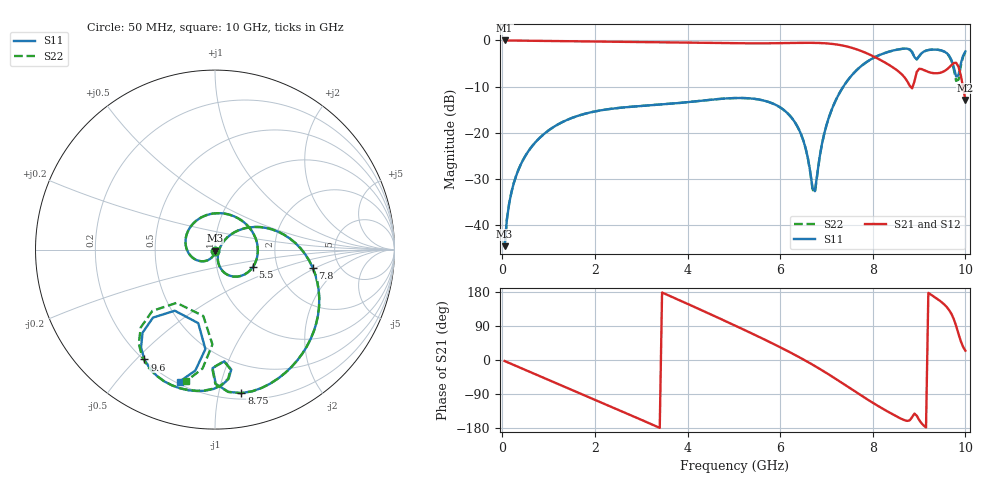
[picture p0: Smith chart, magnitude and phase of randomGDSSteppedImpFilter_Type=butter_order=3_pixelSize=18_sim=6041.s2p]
! freq	dB(S11)	phase(S11)	dB(S12)	phase(S12)
!  dB(S21)	phase(S21)	dB(S22)	phase(S22)
!S-par simulation data
#  GHz  S  DB  R 50
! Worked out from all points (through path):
!   200 points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, 50 MHz to 10 GHz, reference 50 ohm
!   highest |S21| = 0.00 dB at 50 MHz (marker M1); lowest = -12.9 dB at 10 GHz (marker M2)
!   group delay of S21, straight-line fit = 170 ps
!   lowest |S11| = -44.5 dB at 50 MHz (marker M3), VSWR 1.01, Z = 50 - j0.598 ohm
!   |S11| at or under -10 dB: start of sweep to 7.363 GHz
!   |S22| runs from -44.5 to -1.8 dB; largest |S21 - S12| = 0
!   S11 on the Smith chart (normalised r, x): 50 MHz: 1.00, -0.01; 5.5 GHz: 1.49, -0.31; 7.8 GHz: 3.18, -0.92; 8.75 GHz: 0.25, -1.17; 9.6 GHz: 0.20, -0.53; 10 GHz: 0.21, -0.75
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0.05  -44.47 -90.0  -0.00 -2.7  -0.00 -2.7  -44.47 -90.0
0.2  -32.69 -100.0  -0.02 -10.6  -0.02 -10.6  -32.69 -100.0
0.5  -24.92 -116.7  -0.05 -26.4  -0.05 -26.4  -24.92 -116.7
1.75  -15.94 177.2  -0.22 -91.8  -0.22 -91.8  -15.94 177.1
2.65  -14.45 129.8  -0.33 -139.1  -0.33 -139.1  -14.45 129.6
3.4  -13.88 89.7  -0.41 -179.2  -0.41 -179.2  -13.88 89.5
4.15  -13.19 49.1  -0.50 139.9  -0.50 139.9  -13.19 48.8
5.05  -12.45 -0.2  -0.61 89.5  -0.61 89.5  -12.45 -0.4
5.5  -12.70 -25.1  -0.63 63.6  -0.63 63.6  -12.70 -25.3
6.35  -18.20 -70.9  -0.54 11.5  -0.54 11.5  -18.21 -71.3
6.55  -23.30 -75.3  -0.52 -1.9  -0.52 -1.9  -23.34 -76.1
6.7  -31.90 -43.4  -0.52 -12.3  -0.52 -12.3  -32.18 -44.5
7.15  -14.06 36.2  -0.78 -45.9  -0.78 -45.9  -14.07 36.5
7.8  -5.15 -10.4  -2.48 -97.5  -2.48 -97.5  -5.15 -10.4
8.35  -2.43 -49.8  -5.28 -137.9  -5.28 -137.9  -2.43 -49.9
8.75  -1.80 -79.6  -8.91 -160.7  -8.91 -160.7  -1.80 -79.7
8.95  -4.09 -85.2  -6.81 -147.1  -6.81 -147.1  -4.09 -85.4
9.25  -2.00 -97.2  -6.96 173.0  -6.96 173.0  -2.01 -97.6
9.6  -2.76 -122.7  -6.26 139.4  -6.26 139.4  -2.83 -124.2
9.8  -7.80 -123.4  -4.83 90.1  -4.83 90.1  -8.74 -125.8
9.9  -5.08 -95.5  -7.52 50.0  -7.52 50.0  -5.53 -91.6
10  -2.37 -105.0  -12.86 24.6  -12.86 24.6  -2.50 -102.3
